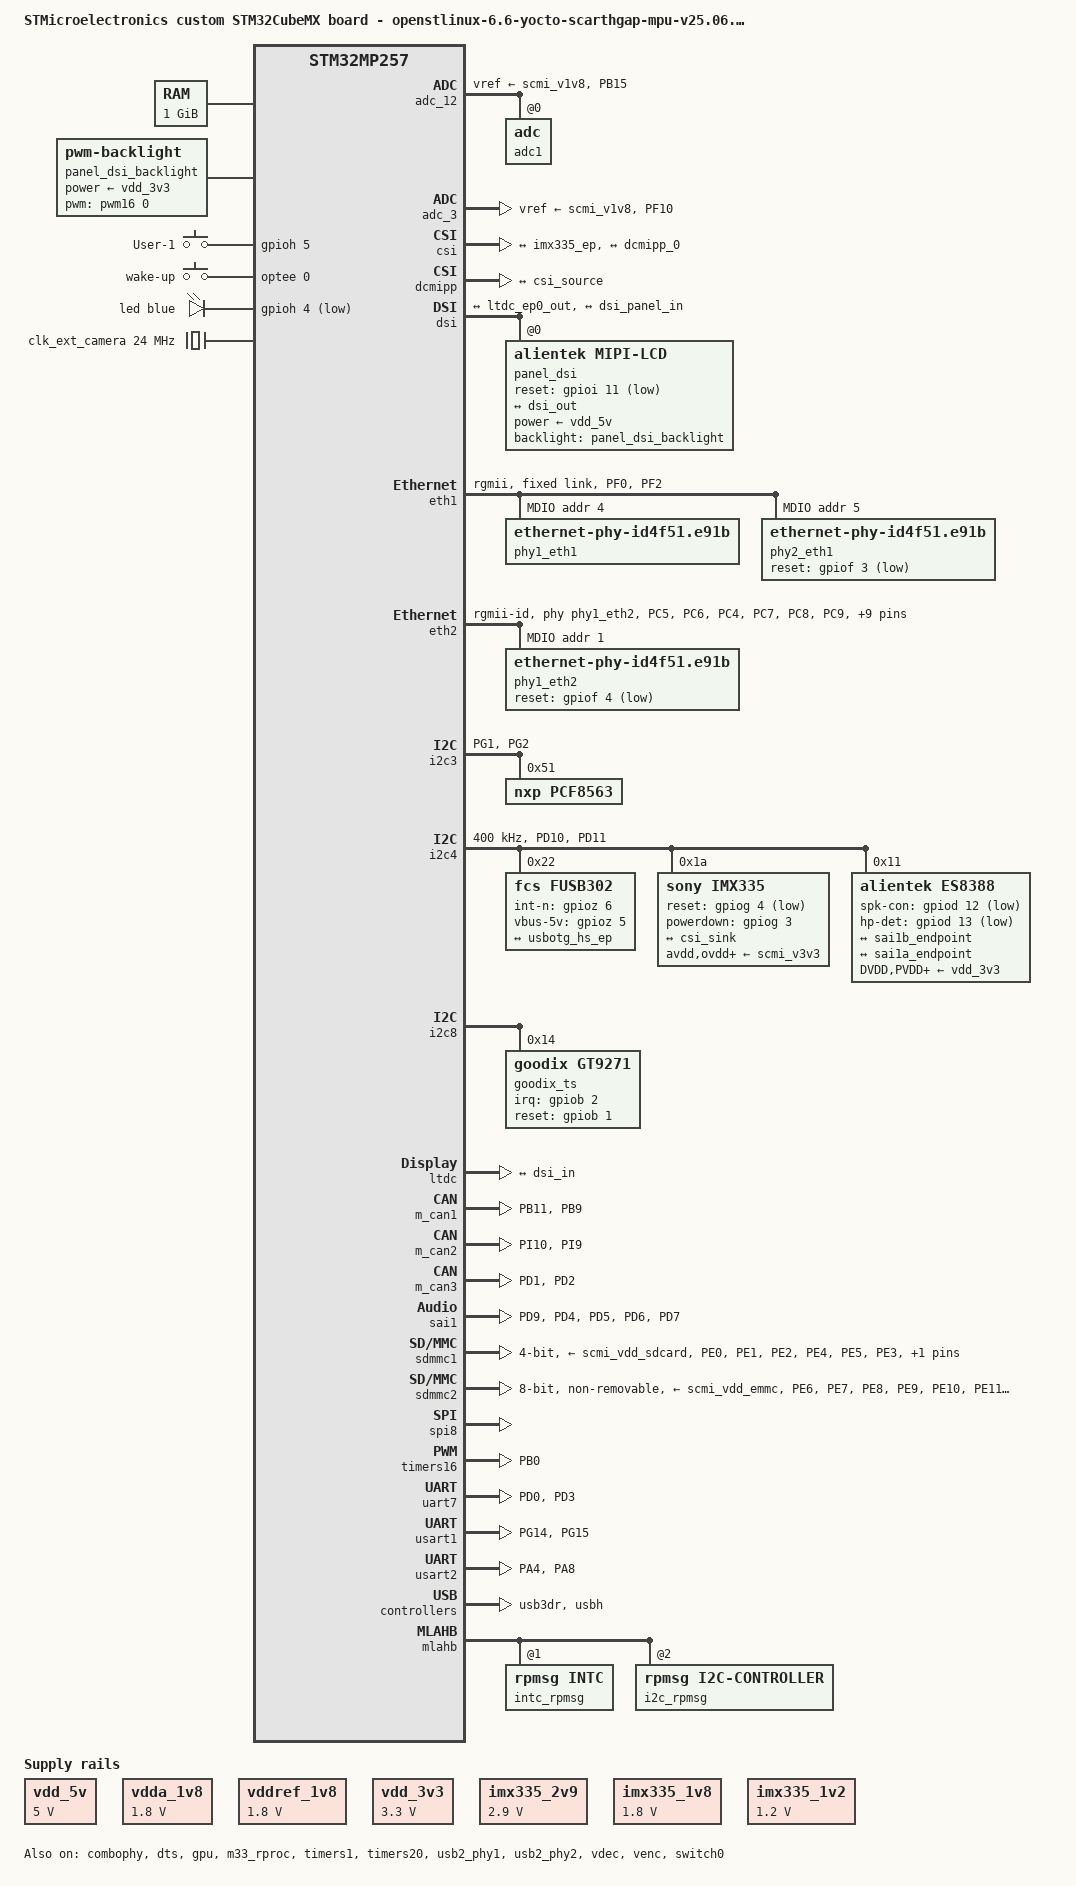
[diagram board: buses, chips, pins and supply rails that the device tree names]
// SPDX-License-Identifier: (GPL-2.0-only OR BSD-3-Clause)
/*
 * Copyright (C) 2026, STMicroelectronics - All Rights Reserved
 * Author: STM32CubeMX code generation for STMicroelectronics.
 */

/* For more information on Device Tree configuration, please refer to
 * https://wiki.st.com/stm32mpu/wiki/Category:Device_tree_configuration
 */

/dts-v1/;

#include <dt-bindings/pinctrl/stm32-pinfunc.h>
#include "stm32mp257.dtsi"
#include "stm32mp257d-stm32mp257dak3-mx-resmem.dtsi"
#include "stm32mp25xxak-pinctrl.dtsi"

/* USER CODE BEGIN includes */
#include <dt-bindings/gpio/gpio.h>
#include <dt-bindings/usb/pd.h>
#include <dt-bindings/input/input.h>
#include <dt-bindings/leds/common.h>
#include "stm32mp25-pinctrl.dtsi"
/* USER CODE END includes */

/ {
	model = "STMicroelectronics custom STM32CubeMX board - openstlinux-6.6-yocto-scarthgap-mpu-v25.06.11";
	compatible = "st,stm32mp257d-stm32mp257dak3-mx", "st,stm32mp257";

	memory@80000000 {
		device_type = "memory";
		reg = <0x0 0x80000000 0x0 0x40000000>;

		/* USER CODE BEGIN memory */
		/* USER CODE END memory */
	};

	/* USER CODE BEGIN root */
	aliases{
		ethernet0 = &eth2;
		ethernet1 = &eth1;
		serial0 = &usart2;
		serial1 = &usart1;
		serial2 = &uart7;
	};
	
	chosen{
		stdout-path = "serial0:115200n8";
		#address-cells = <2>;
		#size-cells = <2>;
		ranges;
	};

	config_adc_mipi_dsi_lcd_id {
		st,adc_mipi_dsi_lcd_id = <&adc3 2>;
	};
	
/*
	dsi_lcd_id select id:
		atk_no_mipi = 1,
		atk_mipi_dsi_5x5_720x1280 = 2,
		atk_mipi_dsi_5x5_1080x1920 = 3,
		atk_mipi_dsi_10x1_800x1280 = 4,
*/
	dsi_lcd_id {
        dsi_select_id = <2>;
    };

	rgb_lcd_id_pinctrl {
		gpior = <&gpiog 7 	GPIO_ACTIVE_LOW>;	//LCD_R7
		gpiog = <&gpiog 13 	GPIO_ACTIVE_LOW>;	//LCD_G7
		gpiob = <&gpioi 4 	GPIO_ACTIVE_LOW>;	//LCD_B7
	};

	panel_dsi_backlight: panel-dsi-backlight {
        compatible = "pwm-backlight";
        pwms = <&pwm16 0 5000000 0>;
		brightness-levels = <
                     0   1   2   3   4   5   6   7	 8   9
					10  11  12  13  14  15  16  17  18  19
					20  21  22  23  24  25  26  27  28  29
					30  31  32  33  34  35  36  37  38  39
                    40  41  42  43  44  45  46  47  48  49
					50  51  52  53  54  55  56  57  58  59
					60  61  62  63  64  65  66  67  68  69
					70  71  72  73  74  75  76  77  78  79
                    80  81  82  83  84  85  86  87  88  89
					90  91  92  93  94  95  96  97  98  99
					100 101 102 103 104 105 106 107 108 109
					110 111 112 113 114 115 116 117 118 119
                    120 121 122 123 124 125 126 127 128 129
					130 131 132 133 134 135 136 137 138 139
					140 141 142 143 144 145 146 147 148 149
					150 151 152 153 154 155 156 157 158 159
                    160 161 162 163 164 165 166 167 168 169
					170 171 172 173 174 175 176 177 178 179
					180 181 182 183 184 185 186 187 188 189
					190 191 192 193 194 195 196 197 198 199
                    200 201 202 203 204 205 206 207 208 209
					210 211 212 213 214 215 216 217 218 219
					220 221 222 223 224 225 226 227 228 229
					230 231 232 233 234 235 236 237 238 239
                    240 241 242 243 244 245 246 247 248 249
					250 251 252 253 254 255>;
	        power-supply = <&vdd_3v3>;
	        default-brightness-level = <255>;
	        status = "okay";
	};

	gpio-keys {
		compatible = "gpio-keys";

		button-user-1 {
			label = "User-1";
			linux,code = <BTN_1>;
			gpios = <&gpioh 5 GPIO_ACTIVE_HIGH>;
			status = "okay";
		};

		button-wake-up {
			label = "wake-up";
			linux,code = <KEY_WAKEUP>;
			interrupts-extended = <&optee 0>;
			wakeup-source;
			status = "okay";
		};
	};

	gpio-leds {
		compatible = "gpio-leds";

		led {
			function = LED_FUNCTION_HEARTBEAT;
			color = <LED_COLOR_ID_BLUE>;
			gpios = <&gpioh 4 GPIO_ACTIVE_LOW>;
			linux,default-trigger = "heartbeat";
			default-state = "off";
		};
	};

	sound {
		compatible = "audio-graph-card";
		label = "es8388-audio";
			dais = <&sai1a_port &sai1b_port>;
			widgets = 
				"Headphone", "Headphone Jack",
				"Speaker", "Ext Spk",
				"Microphone", "Mic Jack";
		routing =
            "Playback", "MCLK",
            "Capture", "MCLK",
		    "Headphone Jack", "LOUT1",
		    "Headphone Jack", "ROUT1",
		    "Ext Spk", "LOUT2",
		    "Ext Spk", "ROUT2",
		    "LINPUT1", "Mic Jack",
		    "LINPUT2", "Mic Jack",
		    "RINPUT2", "Mic Jack",
		    "Mic Jack", "Mic Bias";
	};

	vdd_5v: regulator-vdd-5v {
			compatible = "regulator-fixed";
			regulator-name = "vdd_5v";
			regulator-min-microvolt = <5000000>;
			regulator-max-microvolt = <5000000>;
			regulator-always-on;
			regulator-boot-on;
	};
	
	vdda_1v8: regulator-vdda-1v8 {
			compatible = "regulator-fixed";
			regulator-name = "vdda_1v8";
			regulator-min-microvolt = <1800000>;
			regulator-max-microvolt = <1800000>;
			regulator-always-on;
			regulator-boot-on;
	};

	vddref_1v8: regulator-vddref-1v8 {
			compatible = "regulator-fixed";
			regulator-name = "vddref_1v8";
			regulator-min-microvolt = <1800000>;
			regulator-max-microvolt = <1800000>;
			regulator-always-on;
			regulator-boot-on;
	};
	
	vdd_3v3: regulator-vdd-3v3 {
		compatible = "regulator-fixed";
		regulator-name = "vdd_3v3";
		regulator-min-microvolt = <3300000>;
		regulator-max-microvolt = <3300000>;
		regulator-always-on;
		regulator-boot-on;
	};

	imx335_2v9: imx335-2v9 {
		compatible = "regulator-fixed";
		regulator-name = "imx335-avdd";
		regulator-min-microvolt = <2900000>;
		regulator-max-microvolt = <2900000>;
		regulator-always-on;
	};

	imx335_1v8: imx335-1v8 {
		compatible = "regulator-fixed";
		regulator-name = "imx335-ovdd";
		regulator-min-microvolt = <1800000>;
		regulator-max-microvolt = <1800000>;
		regulator-always-on;
	};

	imx335_1v2: imx335-1v2 {
		compatible = "regulator-fixed";
		regulator-name = "imx335-dvdd";
		regulator-min-microvolt = <1200000>;
		regulator-max-microvolt = <1200000>;
		regulator-always-on;
	};
	/* USER CODE END root */

	clocks{

		/* USER CODE BEGIN clocks */
		clk_ext_camera: clk-ext-camera {
			#clock-cells = <0>;
			compatible = "fixed-clock";
			clock-frequency = <24000000>;
		};

		pad_clk: pad-clk {
			#clock-cells = <0>;
			compatible = "fixed-clock";
			clock-frequency = <100000000>;
		};
		/* USER CODE END clocks */
	};

}; /*root*/

&pinctrl {

	adc3_pins_mx: adc3_mx-0 {
		pins {
			pinmux = <STM32_PINMUX('F', 10, ANALOG)>; /* ADC3_INP2 */
		};
	};

	adc3_sleep_pins_mx: adc3_sleep_mx-0 {
		pins {
			pinmux = <STM32_PINMUX('F', 10, ANALOG)>; /* ADC3_INP2 */
		};
	};

	adc_12_pins_mx: adc_12_mx-0 {
		pins {
			pinmux = <STM32_PINMUX('B', 15, ANALOG)>; /* ADC1_INP15 */
		};
	};

	adc_12_sleep_pins_mx: adc_12_sleep_mx-0 {
		pins {
			pinmux = <STM32_PINMUX('B', 15, ANALOG)>; /* ADC1_INP15 */
		};
	};

	eth1_mdio_pins_mx: eth1_mdio_mx-0 {
		pins1 {
			pinmux = <STM32_PINMUX('F', 0, AF10)>; /* ETH1_MDC */
			bias-disable;
			drive-push-pull;
			slew-rate = <2>;
			st,io-clk-edge = <0>;
			st,io-retime = <0>;
			st,io-delay-path = <0>;
			st,io-delay = <0>;
		};
		pins2 {
			pinmux = <STM32_PINMUX('F', 2, AF10)>; /* ETH1_MDIO */
			bias-disable;
			drive-push-pull;
			slew-rate = <0>;
			st,io-clk-edge = <0>;
			st,io-retime = <0>;
			st,io-delay-path = <0>;
			st,io-delay = <0>;
		};
	};

	eth1_mdio_sleep_pins_mx: eth1_mdio_sleep_mx-0 {
		pins {
			pinmux = <STM32_PINMUX('F', 0, ANALOG)>, /* ETH1_MDC */
					 <STM32_PINMUX('F', 2, ANALOG)>; /* ETH1_MDIO */
		};
	};

	eth1_rgmii_pins_mx: eth1_rgmii_mx-0 {
		pins1 {
			pinmux = <STM32_PINMUX('A', 11, AF10)>, /* ETH1_RGMII_RX_CTL */
					 <STM32_PINMUX('C', 2, AF10)>, /* ETH1_RGMII_RXD1 */
					 <STM32_PINMUX('F', 1, AF10)>, /* ETH1_RGMII_RXD0 */
					 <STM32_PINMUX('H', 12, AF10)>, /* ETH1_RGMII_RXD2 */
					 <STM32_PINMUX('H', 13, AF10)>; /* ETH1_RGMII_RXD3 */
			bias-disable;
			drive-push-pull;
			st,io-clk-edge = <1>;
			st,io-retime = <1>;
			st,io-delay-path = <0>;
			st,io-delay = <0>;
		};
		pins2 {
			pinmux = <STM32_PINMUX('A', 13, AF10)>, /* ETH1_RGMII_TX_CTL */
					 <STM32_PINMUX('A', 15, AF10)>, /* ETH1_RGMII_TXD0 */
					 <STM32_PINMUX('C', 1, AF10)>, /* ETH1_RGMII_TXD1 */
					 <STM32_PINMUX('H', 10, AF10)>, /* ETH1_RGMII_TXD2 */
					 <STM32_PINMUX('H', 11, AF10)>; /* ETH1_RGMII_TXD3 */
			bias-disable;
			drive-push-pull;
			slew-rate = <2>;
			st,io-clk-edge = <1>;
			st,io-retime = <1>;
			st,io-delay-path = <0>;
			st,io-delay = <0>;
		};
		pins3 {
			pinmux = <STM32_PINMUX('A', 14, AF10)>; /* ETH1_RGMII_RX_CLK */
			bias-disable;
			drive-push-pull;
			slew-rate = <0>;
			st,io-clk-edge = <0>;
			st,io-retime = <0>;
			st,io-delay-path = <0>;
			st,io-delay = <0>;
		};
		pins4 {
			pinmux = <STM32_PINMUX('C', 0, AF12)>; /* ETH1_RGMII_GTX_CLK */
			bias-disable;
			drive-push-pull;
			slew-rate = <1>;
			st,io-clk-edge = <0>;
			st,io-retime = <0>;
			st,io-delay-path = <0>;
			st,io-delay = <0>;
		};
		pins5 {
			pinmux = <STM32_PINMUX('H', 9, AF10)>; /* ETH1_RGMII_CLK125 */
		};
	};

	eth1_rgmii_sleep_pins_mx: eth1_rgmii_sleep_mx-0 {
		pins {
			pinmux = <STM32_PINMUX('A', 11, ANALOG)>, /* ETH1_RGMII_RX_CTL */
					 <STM32_PINMUX('A', 13, ANALOG)>, /* ETH1_RGMII_TX_CTL */
					 <STM32_PINMUX('A', 14, ANALOG)>, /* ETH1_RGMII_RX_CLK */
					 <STM32_PINMUX('A', 15, ANALOG)>, /* ETH1_RGMII_TXD0 */
					 <STM32_PINMUX('C', 0, ANALOG)>, /* ETH1_RGMII_GTX_CLK */
					 <STM32_PINMUX('C', 1, ANALOG)>, /* ETH1_RGMII_TXD1 */
					 <STM32_PINMUX('C', 2, ANALOG)>, /* ETH1_RGMII_RXD1 */
					 <STM32_PINMUX('F', 1, ANALOG)>, /* ETH1_RGMII_RXD0 */
					 <STM32_PINMUX('H', 9, ANALOG)>, /* ETH1_RGMII_CLK125 */
					 <STM32_PINMUX('H', 10, ANALOG)>, /* ETH1_RGMII_TXD2 */
					 <STM32_PINMUX('H', 11, ANALOG)>, /* ETH1_RGMII_TXD3 */
					 <STM32_PINMUX('H', 12, ANALOG)>, /* ETH1_RGMII_RXD2 */
					 <STM32_PINMUX('H', 13, ANALOG)>; /* ETH1_RGMII_RXD3 */
		};
	};

	eth2_mdio_pins_mx: eth2_mdio_mx-0 {
		pins1 {
			pinmux = <STM32_PINMUX('C', 5, AF10)>; /* ETH2_MDIO */
			bias-disable;
			drive-push-pull;
			slew-rate = <0>;
			st,io-clk-edge = <0>;
			st,io-retime = <0>;
			st,io-delay-path = <0>;
			st,io-delay = <0>;
		};
		pins2 {
			pinmux = <STM32_PINMUX('C', 6, AF10)>; /* ETH2_MDC */
			bias-disable;
			drive-push-pull;
			slew-rate = <2>;
			st,io-clk-edge = <0>;
			st,io-retime = <0>;
			st,io-delay-path = <0>;
			st,io-delay = <0>;
		};
	};

	eth2_mdio_sleep_pins_mx: eth2_mdio_sleep_mx-0 {
		pins {
			pinmux = <STM32_PINMUX('C', 5, ANALOG)>, /* ETH2_MDIO */
					 <STM32_PINMUX('C', 6, ANALOG)>; /* ETH2_MDC */
		};
	};

	eth2_rgmii_pins_mx: eth2_rgmii_mx-0 {
		pins1 {
			pinmux = <STM32_PINMUX('C', 4, AF10)>, /* ETH2_RGMII_TX_CTL */
					 <STM32_PINMUX('C', 7, AF10)>, /* ETH2_RGMII_TXD0 */
					 <STM32_PINMUX('C', 8, AF10)>, /* ETH2_RGMII_TXD1 */
					 <STM32_PINMUX('C', 9, AF10)>, /* ETH2_RGMII_TXD2 */
					 <STM32_PINMUX('C', 10, AF10)>; /* ETH2_RGMII_TXD3 */
			bias-disable;
			drive-push-pull;
			slew-rate = <2>;
			st,io-clk-edge = <1>;
			st,io-retime = <1>;
			st,io-delay-path = <0>;
			st,io-delay = <0>;
		};
		pins2 {
			pinmux = <STM32_PINMUX('C', 3, AF10)>, /* ETH2_RGMII_RX_CTL */
					 <STM32_PINMUX('C', 11, AF10)>, /* ETH2_RGMII_RXD3 */
					 <STM32_PINMUX('C', 12, AF10)>, /* ETH2_RGMII_RXD1 */
					 <STM32_PINMUX('F', 9, AF10)>, /* ETH2_RGMII_RXD2 */
					 <STM32_PINMUX('G', 0, AF10)>; /* ETH2_RGMII_RXD0 */
			bias-disable;
			drive-push-pull;
			st,io-clk-edge = <1>;
			st,io-retime = <1>;
			st,io-delay-path = <0>;
			st,io-delay = <0>;
		};
		pins3 {
			pinmux = <STM32_PINMUX('F', 6, AF10)>; /* ETH2_RGMII_RX_CLK */
			bias-disable;
			drive-push-pull;
			slew-rate = <0>;
			st,io-clk-edge = <0>;
			st,io-retime = <0>;
			st,io-delay-path = <0>;
			st,io-delay = <0>;
		};
		pins4 {
			pinmux = <STM32_PINMUX('F', 7, AF10)>; /* ETH2_RGMII_GTX_CLK */
			bias-disable;
			drive-push-pull;
			slew-rate = <1>;
			st,io-clk-edge = <0>;
			st,io-retime = <0>;
			st,io-delay-path = <0>;
			st,io-delay = <0>;
		};
		pins5 {
			pinmux = <STM32_PINMUX('F', 8, AF10)>; /* ETH2_RGMII_CLK125 */
			bias-disable;
			drive-push-pull;
			slew-rate = <2>;
		};
	};

	eth2_rgmii_sleep_pins_mx: eth2_rgmii_sleep_mx-0 {
		pins {
			pinmux = <STM32_PINMUX('C', 3, ANALOG)>, /* ETH2_RGMII_RX_CTL */
					 <STM32_PINMUX('C', 4, ANALOG)>, /* ETH2_RGMII_TX_CTL */
					 <STM32_PINMUX('C', 7, ANALOG)>, /* ETH2_RGMII_TXD0 */
					 <STM32_PINMUX('C', 8, ANALOG)>, /* ETH2_RGMII_TXD1 */
					 <STM32_PINMUX('C', 9, ANALOG)>, /* ETH2_RGMII_TXD2 */
					 <STM32_PINMUX('C', 10, ANALOG)>, /* ETH2_RGMII_TXD3 */
					 <STM32_PINMUX('C', 11, ANALOG)>, /* ETH2_RGMII_RXD3 */
					 <STM32_PINMUX('C', 12, ANALOG)>, /* ETH2_RGMII_RXD1 */
					 <STM32_PINMUX('F', 6, ANALOG)>, /* ETH2_RGMII_RX_CLK */
					 <STM32_PINMUX('F', 7, ANALOG)>, /* ETH2_RGMII_GTX_CLK */
					 <STM32_PINMUX('F', 8, ANALOG)>, /* ETH2_RGMII_CLK125 */
					 <STM32_PINMUX('F', 9, ANALOG)>, /* ETH2_RGMII_RXD2 */
					 <STM32_PINMUX('G', 0, ANALOG)>; /* ETH2_RGMII_RXD0 */
		};
	};

	fdcan1_pins_mx: fdcan1_mx-0 {
		pins1 {
			pinmux = <STM32_PINMUX('B', 11, AF7)>; /* FDCAN1_RX */
			bias-disable;
			drive-push-pull;
		};
		pins2 {
			pinmux = <STM32_PINMUX('B', 9, AF7)>; /* FDCAN1_TX */
			bias-disable;
			drive-push-pull;
			slew-rate = <0>;
		};
	};

	fdcan1_sleep_pins_mx: fdcan1_sleep_mx-0 {
		pins {
			pinmux = <STM32_PINMUX('B', 9, ANALOG)>, /* FDCAN1_TX */
					 <STM32_PINMUX('B', 11, ANALOG)>; /* FDCAN1_RX */
		};
	};

	fdcan2_pins_mx: fdcan2_mx-0 {
		pins1 {
			pinmux = <STM32_PINMUX('I', 10, AF4)>; /* FDCAN2_RX */
			bias-disable;
			drive-push-pull;
		};
		pins2 {
			pinmux = <STM32_PINMUX('I', 9, AF4)>; /* FDCAN2_TX */
			bias-disable;
			drive-push-pull;
			slew-rate = <0>;
		};
	};

	fdcan2_sleep_pins_mx: fdcan2_sleep_mx-0 {
		pins {
			pinmux = <STM32_PINMUX('I', 9, ANALOG)>, /* FDCAN2_TX */
					 <STM32_PINMUX('I', 10, ANALOG)>; /* FDCAN2_RX */
		};
	};

	fdcan3_pins_mx: fdcan3_mx-0 {
		pins1 {
			pinmux = <STM32_PINMUX('D', 1, AF9)>; /* FDCAN3_RX */
			bias-disable;
			drive-push-pull;
		};
		pins2 {
			pinmux = <STM32_PINMUX('D', 2, AF9)>; /* FDCAN3_TX */
			bias-disable;
			drive-push-pull;
			slew-rate = <0>;
		};
	};

	fdcan3_sleep_pins_mx: fdcan3_sleep_mx-0 {
		pins {
			pinmux = <STM32_PINMUX('D', 1, ANALOG)>, /* FDCAN3_RX */
					 <STM32_PINMUX('D', 2, ANALOG)>; /* FDCAN3_TX */
		};
	};

	i2c3_pins_mx: i2c3_mx-0 {
		pins {
			pinmux = <STM32_PINMUX('G', 1, AF9)>, /* I2C3_SCL */
					 <STM32_PINMUX('G', 2, AF9)>; /* I2C3_SDA */
			bias-disable;
			drive-open-drain;
			slew-rate = <0>;
		};
	};

	i2c3_sleep_pins_mx: i2c3_sleep_mx-0 {
		pins {
			pinmux = <STM32_PINMUX('G', 1, ANALOG)>, /* I2C3_SCL */
					 <STM32_PINMUX('G', 2, ANALOG)>; /* I2C3_SDA */
		};
	};

	i2c4_pins_mx: i2c4_mx-0 {
		pins {
			pinmux = <STM32_PINMUX('D', 10, AF6)>, /* I2C4_SDA */
					 <STM32_PINMUX('D', 11, AF6)>; /* I2C4_SCL */
			bias-disable;
			drive-open-drain;
			slew-rate = <0>;
		};
	};

	i2c4_sleep_pins_mx: i2c4_sleep_mx-0 {
		pins {
			pinmux = <STM32_PINMUX('D', 10, ANALOG)>, /* I2C4_SDA */
					 <STM32_PINMUX('D', 11, ANALOG)>; /* I2C4_SCL */
		};
	};

	pcie_pins_mx: pcie_mx-0 {
		pins {
			pinmux = <STM32_PINMUX('B', 8, AF4)>; /* PCIE_CLKREQN */
			bias-disable;
			drive-push-pull;
			slew-rate = <0>;
		};
	};

	pcie_init_pins_mx: pcie_init_mx-0 {
		pins {
			pinmux = <STM32_PINMUX('B', 8, ANALOG)>; /* PCIE_CLKREQN */
		};
	};

	pcie_sleep_pins_mx: pcie_sleep_mx-0 {
		pins {
			pinmux = <STM32_PINMUX('B', 8, ANALOG)>; /* PCIE_CLKREQN */
		};
	};

	sai1a_pins_mx: sai1a_mx-0 {
		pins {
			pinmux = <STM32_PINMUX('D', 9, AF3)>; /* SAI1_SD_A */
			bias-disable;
			drive-push-pull;
			slew-rate = <0>;
		};
	};

	sai1a_sleep_pins_mx: sai1a_sleep_mx-0 {
		pins {
			pinmux = <STM32_PINMUX('D', 9, ANALOG)>; /* SAI1_SD_A */
		};
	};

	sai1b_pins_mx: sai1b_mx-0 {
		pins {
			pinmux = <STM32_PINMUX('D', 4, AF4)>, /* SAI1_SD_B */
					 <STM32_PINMUX('D', 5, AF4)>, /* SAI1_FS_B */
					 <STM32_PINMUX('D', 6, AF4)>, /* SAI1_SCK_B */
					 <STM32_PINMUX('D', 7, AF4)>; /* SAI1_MCLK_B */
			bias-disable;
			drive-push-pull;
			slew-rate = <0>;
		};
	};

	sai1b_sleep_pins_mx: sai1b_sleep_mx-0 {
		pins {
			pinmux = <STM32_PINMUX('D', 4, ANALOG)>, /* SAI1_SD_B */
					 <STM32_PINMUX('D', 5, ANALOG)>, /* SAI1_FS_B */
					 <STM32_PINMUX('D', 6, ANALOG)>, /* SAI1_SCK_B */
					 <STM32_PINMUX('D', 7, ANALOG)>; /* SAI1_MCLK_B */
		};
	};

	sdmmc1_pins_mx: sdmmc1_mx-0 {
		pins1 {
			pinmux = <STM32_PINMUX('E', 0, AF10)>, /* SDMMC1_D2 */
					 <STM32_PINMUX('E', 1, AF10)>, /* SDMMC1_D3 */
					 <STM32_PINMUX('E', 2, AF10)>, /* SDMMC1_CMD */
					 <STM32_PINMUX('E', 4, AF10)>, /* SDMMC1_D0 */
					 <STM32_PINMUX('E', 5, AF10)>; /* SDMMC1_D1 */
			bias-disable;
			drive-push-pull;
			slew-rate = <1>;
		};
		pins2 {
			pinmux = <STM32_PINMUX('E', 3, AF10)>; /* SDMMC1_CK */
			bias-disable;
			drive-push-pull;
			slew-rate = <3>;
		};
	};

	sdmmc1_opendrain_pins_mx: sdmmc1_opendrain_mx-0 {
		pins1 {
			pinmux = <STM32_PINMUX('E', 0, AF10)>, /* SDMMC1_D2 */
					 <STM32_PINMUX('E', 1, AF10)>, /* SDMMC1_D3 */
					 <STM32_PINMUX('E', 4, AF10)>, /* SDMMC1_D0 */
					 <STM32_PINMUX('E', 5, AF10)>; /* SDMMC1_D1 */
			bias-disable;
			drive-push-pull;
			slew-rate = <1>;
		};
		pins2 {
			pinmux = <STM32_PINMUX('E', 2, AF10)>; /* SDMMC1_CMD */
			bias-disable;
			drive-open-drain;
			slew-rate = <1>;
		};
		pins3 {
			pinmux = <STM32_PINMUX('E', 3, AF10)>; /* SDMMC1_CK */
			bias-disable;
			drive-push-pull;
			slew-rate = <3>;
		};
	};

	sdmmc1_sleep_pins_mx: sdmmc1_sleep_mx-0 {
		pins {
			pinmux = <STM32_PINMUX('E', 0, ANALOG)>, /* SDMMC1_D2 */
					 <STM32_PINMUX('E', 1, ANALOG)>, /* SDMMC1_D3 */
					 <STM32_PINMUX('E', 2, ANALOG)>, /* SDMMC1_CMD */
					 <STM32_PINMUX('E', 3, ANALOG)>, /* SDMMC1_CK */
					 <STM32_PINMUX('E', 4, ANALOG)>, /* SDMMC1_D0 */
					 <STM32_PINMUX('E', 5, ANALOG)>; /* SDMMC1_D1 */
		};
	};

	sdmmc2_pins_mx: sdmmc2_mx-0 {
		pins1 {
			pinmux = <STM32_PINMUX('E', 6, AF12)>, /* SDMMC2_D6 */
					 <STM32_PINMUX('E', 7, AF12)>, /* SDMMC2_D7 */
					 <STM32_PINMUX('E', 8, AF12)>, /* SDMMC2_D2 */
					 <STM32_PINMUX('E', 9, AF12)>, /* SDMMC2_D5 */
					 <STM32_PINMUX('E', 10, AF12)>, /* SDMMC2_D4 */
					 <STM32_PINMUX('E', 11, AF12)>, /* SDMMC2_D1 */
					 <STM32_PINMUX('E', 12, AF12)>, /* SDMMC2_D3 */
					 <STM32_PINMUX('E', 13, AF12)>, /* SDMMC2_D0 */
					 <STM32_PINMUX('E', 15, AF12)>; /* SDMMC2_CMD */
			bias-disable;
			drive-push-pull;
			slew-rate = <1>;
		};
		pins2 {
			pinmux = <STM32_PINMUX('E', 14, AF12)>; /* SDMMC2_CK */
			bias-disable;
			drive-push-pull;
			slew-rate = <3>;
		};
	};

	sdmmc2_opendrain_pins_mx: sdmmc2_opendrain_mx-0 {
		pins1 {
			pinmux = <STM32_PINMUX('E', 6, AF12)>, /* SDMMC2_D6 */
					 <STM32_PINMUX('E', 7, AF12)>, /* SDMMC2_D7 */
					 <STM32_PINMUX('E', 8, AF12)>, /* SDMMC2_D2 */
					 <STM32_PINMUX('E', 9, AF12)>, /* SDMMC2_D5 */
					 <STM32_PINMUX('E', 10, AF12)>, /* SDMMC2_D4 */
					 <STM32_PINMUX('E', 11, AF12)>, /* SDMMC2_D1 */
					 <STM32_PINMUX('E', 12, AF12)>, /* SDMMC2_D3 */
					 <STM32_PINMUX('E', 13, AF12)>; /* SDMMC2_D0 */
			bias-disable;
			drive-push-pull;
			slew-rate = <1>;
		};
		pins2 {
			pinmux = <STM32_PINMUX('E', 14, AF12)>; /* SDMMC2_CK */
			bias-disable;
			drive-push-pull;
			slew-rate = <3>;
		};
		pins3 {
			pinmux = <STM32_PINMUX('E', 15, AF12)>; /* SDMMC2_CMD */
			bias-disable;
			drive-open-drain;
			slew-rate = <1>;
		};
	};

	sdmmc2_sleep_pins_mx: sdmmc2_sleep_mx-0 {
		pins {
			pinmux = <STM32_PINMUX('E', 6, ANALOG)>, /* SDMMC2_D6 */
					 <STM32_PINMUX('E', 7, ANALOG)>, /* SDMMC2_D7 */
					 <STM32_PINMUX('E', 8, ANALOG)>, /* SDMMC2_D2 */
					 <STM32_PINMUX('E', 9, ANALOG)>, /* SDMMC2_D5 */
					 <STM32_PINMUX('E', 10, ANALOG)>, /* SDMMC2_D4 */
					 <STM32_PINMUX('E', 11, ANALOG)>, /* SDMMC2_D1 */
					 <STM32_PINMUX('E', 12, ANALOG)>, /* SDMMC2_D3 */
					 <STM32_PINMUX('E', 13, ANALOG)>, /* SDMMC2_D0 */
					 <STM32_PINMUX('E', 14, ANALOG)>, /* SDMMC2_CK */
					 <STM32_PINMUX('E', 15, ANALOG)>; /* SDMMC2_CMD */
		};
	};

	tim1_pins_mx: tim1_mx-0 {
		pins {
			pinmux = <STM32_PINMUX('D', 8, AF8)>; /* TIM1_CH4 */
			bias-disable;
			drive-push-pull;
			slew-rate = <0>;
		};
	};

	tim1_sleep_pins_mx: tim1_sleep_mx-0 {
		pins {
			pinmux = <STM32_PINMUX('D', 8, ANALOG)>; /* TIM1_CH4 */
		};
	};

	tim16_pwm_pins_mx: tim16_pwm_mx-0 {
		pins {
			pinmux = <STM32_PINMUX('B', 0, AF7)>; /* TIM16_CH1 */
			bias-disable;
			drive-push-pull;
			slew-rate = <0>;
		};
	};

	tim16_pwm_sleep_pins_mx: tim16_pwm_sleep_mx-0 {
		pins {
			pinmux = <STM32_PINMUX('B', 0, ANALOG)>; /* TIM16_CH1 */
		};
	};

	tim20_pwm_pins_mx: tim20_pwm_mx-0 {
		pins {
			pinmux = <STM32_PINMUX('B', 3, AF8)>; /* TIM20_CH3 */
			bias-disable;
			drive-push-pull;
			slew-rate = <0>;
		};
	};

	tim20_pwm_sleep_pins_mx: tim20_pwm_sleep_mx-0 {
		pins {
			pinmux = <STM32_PINMUX('B', 3, ANALOG)>; /* TIM20_CH3 */
		};
	};

	uart7_pins_mx: uart7_mx-0 {
		pins1 {
			pinmux = <STM32_PINMUX('D', 0, AF6)>; /* UART7_RX */
			bias-disable;
			drive-push-pull;
		};
		pins2 {
			pinmux = <STM32_PINMUX('D', 3, AF6)>; /* UART7_TX */
			bias-disable;
			drive-push-pull;
			slew-rate = <0>;
		};
	};

	uart7_idle_pins_mx: uart7_idle_mx-0 {
		pins1 {
			pinmux = <STM32_PINMUX('D', 0, AF6)>; /* UART7_RX */
			bias-disable;
			drive-push-pull;
		};
		pins2 {
			pinmux = <STM32_PINMUX('D', 3, ANALOG)>; /* UART7_TX */
		};
	};

	uart7_sleep_pins_mx: uart7_sleep_mx-0 {
		pins {
			pinmux = <STM32_PINMUX('D', 0, ANALOG)>, /* UART7_RX */
					 <STM32_PINMUX('D', 3, ANALOG)>; /* UART7_TX */
		};
	};

	usart1_pins_mx: usart1_mx-0 {
		pins1 {
			pinmux = <STM32_PINMUX('G', 14, AF6)>; /* USART1_TX */
			bias-disable;
			drive-push-pull;
			slew-rate = <0>;
		};
		pins2 {
			pinmux = <STM32_PINMUX('G', 15, AF6)>; /* USART1_RX */
			bias-disable;
			drive-push-pull;
		};
	};

	usart1_idle_pins_mx: usart1_idle_mx-0 {
		pins1 {
			pinmux = <STM32_PINMUX('G', 14, ANALOG)>; /* USART1_TX */
		};
		pins2 {
			pinmux = <STM32_PINMUX('G', 15, AF6)>; /* USART1_RX */
			bias-disable;
			drive-push-pull;
		};
	};

	usart1_sleep_pins_mx: usart1_sleep_mx-0 {
		pins {
			pinmux = <STM32_PINMUX('G', 14, ANALOG)>, /* USART1_TX */
					 <STM32_PINMUX('G', 15, ANALOG)>; /* USART1_RX */
		};
	};

	usart2_pins_mx: usart2_mx-0 {
		pins1 {
			pinmux = <STM32_PINMUX('A', 4, AF6)>; /* USART2_TX */
			bias-disable;
			drive-push-pull;
			slew-rate = <0>;
		};
		pins2 {
			pinmux = <STM32_PINMUX('A', 8, AF8)>; /* USART2_RX */
			bias-disable;
			drive-push-pull;
		};
	};

	usart2_idle_pins_mx: usart2_idle_mx-0 {
		pins1 {
			pinmux = <STM32_PINMUX('A', 4, ANALOG)>; /* USART2_TX */
		};
		pins2 {
			pinmux = <STM32_PINMUX('A', 8, AF8)>; /* USART2_RX */
			bias-disable;
			drive-push-pull;
		};
	};

	usart2_sleep_pins_mx: usart2_sleep_mx-0 {
		pins {
			pinmux = <STM32_PINMUX('A', 4, ANALOG)>, /* USART2_TX */
					 <STM32_PINMUX('A', 8, ANALOG)>; /* USART2_RX */
		};
	};

	/* USER CODE BEGIN pinctrl */
	/* USER CODE END pinctrl */
};

&pinctrl_z {

	i2c8_pins_z_mx: i2c8_mx-0 {
		pins {
			pinmux = <STM32_PINMUX('Z', 4, AF8)>, /* I2C8_SCL */
					 <STM32_PINMUX('Z', 9, AF8)>; /* I2C8_SDA */
			bias-disable;
			drive-open-drain;
			slew-rate = <0>;
		};
	};

	i2c8_sleep_pins_z_mx: i2c8_sleep_mx-0 {
		pins {
			pinmux = <STM32_PINMUX('Z', 4, ANALOG)>, /* I2C8_SCL */
					 <STM32_PINMUX('Z', 9, ANALOG)>; /* I2C8_SDA */
		};
	};

	spi8_pins_z_mx: spi8_mx-0 {
		pins {
			pinmux = <STM32_PINMUX('Z', 0, AF3)>, /* SPI8_MOSI */
					 <STM32_PINMUX('Z', 1, AF3)>, /* SPI8_MISO */
					 <STM32_PINMUX('Z', 2, AF3)>, /* SPI8_SCK */
					 <STM32_PINMUX('Z', 3, AF3)>; /* SPI8_NSS */
			bias-disable;
			drive-push-pull;
			slew-rate = <0>;
		};
	};

	spi8_sleep_pins_z_mx: spi8_sleep_mx-0 {
		pins {
			pinmux = <STM32_PINMUX('Z', 0, ANALOG)>, /* SPI8_MOSI */
					 <STM32_PINMUX('Z', 1, ANALOG)>, /* SPI8_MISO */
					 <STM32_PINMUX('Z', 2, ANALOG)>, /* SPI8_SCK */
					 <STM32_PINMUX('Z', 3, ANALOG)>; /* SPI8_NSS */
		};
	};

	/* USER CODE BEGIN pinctrl_z */
	/* USER CODE END pinctrl_z */
};

&adc_12 {
	pinctrl-names = "default", "sleep";
	pinctrl-0 = <&adc_12_pins_mx>;
	pinctrl-1 = <&adc_12_sleep_pins_mx>;
	status = "okay";

	/* USER CODE BEGIN adc_12 */
	vdda-supply = <&scmi_v1v8>;
	vref-supply = <&scmi_v1v8>;

	adc1: adc@0 {
		#address-cells = <1>;
		#size-cells = <0>;
		status = "okay";

		channel@15 {
			reg = <15>;               			/* ADC1 in15 channel is used */
			st,min-sample-time-ns = <10000>;  	/* 10μs sampling time */
		};
	};
	/* USER CODE END adc_12 */
};

&adc_3 {
	pinctrl-names = "default", "sleep";
	pinctrl-0 = <&adc3_pins_mx>;
	pinctrl-1 = <&adc3_sleep_pins_mx>;
	status = "okay";

	/* USER CODE BEGIN adc_3 */
	vdda-supply = <&scmi_v1v8>;
	vref-supply = <&scmi_v1v8>;
	/* USER CODE END adc_3 */
};

&combophy {
	status = "okay";

	/* USER CODE BEGIN combophy */
	clocks = <&rcc CK_BUS_USB3PCIEPHY>, <&rcc CK_KER_USB3PCIEPHY>, <&pad_clk>;
	clock-names = "apb-clk", "ker-clk", "pad-clk";
	st,rx_equalizer = <1>;
	/* USER CODE END combophy */
};

&csi {
	status = "okay";

	/* USER CODE BEGIN csi */
	vdd-supply =  <&scmi_vddcore>;
	vdda18-supply = <&scmi_v1v8>;

	ports {
		#address-cells = <1>;
		#size-cells = <0>;
		port@0 {
			reg = <0>;
			csi_sink: endpoint {
				remote-endpoint = <&imx335_ep>;
				data-lanes = <1 2>;
				bus-type = <4>;
			};
		};
		port@1 {
			reg = <1>;
			csi_source: endpoint {
				remote-endpoint = <&dcmipp_0>;
			};
		};
	};
	/* USER CODE END csi */
};

&dcmipp {
	status = "okay";

	/* USER CODE BEGIN dcmipp */
	port {
		dcmipp_0: endpoint {
			remote-endpoint = <&csi_source>;
			bus-type = <4>;
		};
	};
	/* USER CODE END dcmipp */
};

&dsi {
	status = "okay";

	/* USER CODE BEGIN dsi */
	vdd-supply = <&scmi_vddcore>;
	vdda18-supply = <&scmi_v1v8>;
	#address-cells = <1>;
	#size-cells = <0>;

	ports {
		#address-cells = <1>;
		#size-cells = <0>;

		port@0 {
			reg = <0>;
			dsi_in: endpoint {
			};
		};

		port@1 {
			reg = <1>;
			dsi_out: endpoint {
			};
		};
	};

	panel_dsi: panel@0 {
		compatible = "alientek,mipi-lcd";
		reg = <0>;
		dsi-lanes = <4>;
		reset-gpio = <&gpioi 11 GPIO_ACTIVE_LOW>;
		power-supply = <&vdd_5v>;
		backlight = <&panel_dsi_backlight>;
		status = "okay";

		port {
			dsi_panel_in: endpoint {
				remote-endpoint = <&dsi_out>;
			};
		};
	};
	/* USER CODE END dsi */
};

&dts {
	status = "okay";

	/* USER CODE BEGIN dts */
	/* USER CODE END dts */
};

&eth1 {
	pinctrl-names = "default", "sleep";
	pinctrl-0 = <&eth1_mdio_pins_mx>;
	pinctrl-1 = <&eth1_mdio_sleep_pins_mx>;
	status = "okay";

	/* USER CODE BEGIN eth1 */
	phy-mode = "rgmii";
	st,eth-clk-sel;
	snps,ext-systime;
	fixed_link: fixed-link {  
		speed = <1000>;
		full-duplex;
	};

	mdio1 {
		#address-cells = <1>;
	   	#size-cells = <0>;
		compatible = "snps,dwmac-mdio";
		phy1_eth1: ethernet-phy@4 {
				compatible = "ethernet-phy-id4f51.e91b",
						"ethernet-phy-ieee802.3-c22";			
				reg = <4>;  
		};
		phy2_eth1: ethernet-phy@5 {
				compatible = "ethernet-phy-id4f51.e91b",
						"ethernet-phy-ieee802.3-c22";
				reset-gpios =  <&gpiof 3 GPIO_ACTIVE_LOW>;
				reset-assert-us = <10000>;
				reset-deassert-us = <80000>;
				reg = <5>;
		};
	};

	/* USER CODE END eth1 */
};

&eth2 {
	pinctrl-names = "default", "sleep";
	pinctrl-0 = <&eth2_mdio_pins_mx>, <&eth2_rgmii_pins_mx>;
	pinctrl-1 = <&eth2_mdio_sleep_pins_mx>, <&eth2_rgmii_sleep_pins_mx>;
	status = "okay";

	/* USER CODE BEGIN eth2 */
	phy-mode = "rgmii-id";
	max-speed = <1000>;
	phy-handle = <&phy1_eth2>;
	st,eth-ptp-from-rcc;

	mdio1 {
		#address-cells = <1>;
		#size-cells = <0>;
		compatible = "snps,dwmac-mdio";
		phy1_eth2: ethernet-phy@1 {
			compatible = "ethernet-phy-id4f51.e91b";
			reset-gpios =  <&gpiof 4 GPIO_ACTIVE_LOW>;
			reset-assert-us = <10000>;
			reset-deassert-us = <80000>;
			//realtek,eee-disable;
			reg = <1>;
		};
	};
	/* USER CODE END eth2 */
};

&gpu {
	status = "okay";

	/* USER CODE BEGIN gpu */
	contiguous-area = <&gpu_reserved>;
	/* USER CODE END gpu */
};

&hpdma {
	status = "okay";

	/* USER CODE BEGIN hpdma */
	memory-region = <&hpdma1_lli>;
	/* USER CODE END hpdma */
};

&hpdma2 {
	status = "okay";

	/* USER CODE BEGIN hpdma2 */
	memory-region = <&hpdma2_lli>;
	/* USER CODE END hpdma2 */
};

&hpdma3 {
	status = "okay";

	/* USER CODE BEGIN hpdma3 */
	memory-region = <&hpdma3_lli>;
	/* USER CODE END hpdma3 */
};

&i2c3 {
	pinctrl-names = "default", "sleep";
	pinctrl-0 = <&i2c3_pins_mx>;
	pinctrl-1 = <&i2c3_sleep_pins_mx>;
	status = "okay";

	/* USER CODE BEGIN i2c3 */
	/delete-property/dmas;
	/delete-property/dma-names;

	pcf8563@51 {
		compatible = "nxp,pcf8563";
		reg = <0x51>;
		status = "okay";
	};
	/* USER CODE END i2c3 */
};

&i2c4 {
	pinctrl-names = "default", "sleep";
	pinctrl-0 = <&i2c4_pins_mx>;
	pinctrl-1 = <&i2c4_sleep_pins_mx>;
	status = "okay";

	/* USER CODE BEGIN i2c4 */
	i2c-scl-rising-time-ns = <100>;
	i2c-scl-falling-time-ns = <13>;
	clock-frequency = <400000>;
	/* spare dmas for other usage */
	/delete-property/dmas;
	/delete-property/dma-names;

	fusb302@22 {
		compatible = "fcs,fusb302","fairchild,fusb302";
		reg = <0x22>;
		int-n-gpios = <&gpioz 6 GPIO_ACTIVE_HIGH>;
		vbus-5v-gpios = <&gpioz 5 GPIO_ACTIVE_HIGH>;
		status = "okay";

		connector {
			compatible = "usb-c-connector";
			label = "USB-C";
			power-role = "dual";
			power-opmode = "default";
			try-power-role = "sink";
			source-pdos = <PDO_FIXED(5000, 3000, PDO_FIXED_USB_COMM)>;
			sink-pdos = <PDO_FIXED(5000, 3000, PDO_FIXED_USB_COMM)
			PDO_VAR(3000, 12000, 3000)
			PDO_PPS_APDO(3000, 11000, 3000)>;
			op-sink-microwatt = <10000000>;
			
			port {
				con_usbotg_hs_ep: endpoint {
				remote-endpoint = <&usbotg_hs_ep>;
				};
			};
		};
	};

	imx335: imx335@1a {
		compatible = "sony,imx335";
		reg = <0x1a>;
		clocks = <&clk_ext_camera>;
		avdd-supply = <&scmi_v3v3>;
		ovdd-supply = <&scmi_v3v3>;
		dvdd-supply = <&scmi_v3v3>;        
		reset-gpios = <&gpiog 4 (GPIO_ACTIVE_LOW | GPIO_PUSH_PULL)>;
		powerdown-gpios = <&gpiog 3 (GPIO_ACTIVE_HIGH | GPIO_PUSH_PULL)>;
		status = "okay";

		port {
			imx335_ep: endpoint {
				remote-endpoint = <&csi_sink>;
				clock-lanes = <0>;
				data-lanes = <1 2>;
				link-frequencies = /bits/ 64 <594000000>;
			};
		};
	};

	es8388: es8388@11 {
		compatible = "alientek,es8388";
		reg = <0x11>;
		#sound-dai-cells = <0>;
		spk-con-gpios = <&gpiod 12 GPIO_ACTIVE_LOW>;
		hp-det-gpios = <&gpiod 13 GPIO_ACTIVE_LOW>;
		clocks = <&sai1b>;
		clock-names = "MCLK";
		DVDD-supply = <&vdd_3v3>;
		PVDD-supply = <&vdd_3v3>;
		AVDD-supply = <&vdd_3v3>;
		HPVDD-supply = <&vdd_3v3>;
		status = "okay";

		port {
			#address-cells = <1>;
			#size-cells = <0>;

			es8388_tx_endpoint: endpoint@0 {
				reg = <0>;
				remote-endpoint = <&sai1b_endpoint>;
				frame-master;
				bitclock-master;
			};

			es8388_rx_endpoint: endpoint@1 {
				reg = <1>;
				remote-endpoint = <&sai1a_endpoint>;
				frame-master;
				bitclock-master;
			};
		};
	};
	/* USER CODE END i2c4 */
};

&i2c8 {
	pinctrl-names = "default", "sleep";
	pinctrl-0 = <&i2c8_pins_z_mx>;
	pinctrl-1 = <&i2c8_sleep_pins_z_mx>;
	status = "okay";

	/* USER CODE BEGIN i2c8 */
	/delete-property/dmas;
	/delete-property/dma-names;	

	goodix_ts@14 {
		compatible = "goodix,gt9271", "goodix,gt911";
		reg = <0x14>;
		interrupt-parent = <&gpiob>;
		interrupts = <2 IRQ_TYPE_EDGE_RISING>;
		irq-gpios = <&gpiob 2 GPIO_ACTIVE_HIGH>;
		reset-gpios = <&gpiob 1 GPIO_ACTIVE_HIGH>;
		status = "okay";
	};
	/* USER CODE END i2c8 */
};

&ipcc1 {
	status = "okay";

	/* USER CODE BEGIN ipcc1 */
	/* USER CODE END ipcc1 */
};

&ltdc {
	status = "okay";

	/* USER CODE BEGIN ltdc */
	rotation-memory = <&ltdc_sec_rotation>;

	port {
		#address-cells = <1>;
		#size-cells = <0>;

		ltdc_ep0_out: endpoint@0 {
			reg = <0>;
			remote-endpoint = <&dsi_in>;
		};
	};
	/* USER CODE END ltdc */
};

&m_can1 {
	pinctrl-names = "default", "sleep";
	pinctrl-0 = <&fdcan1_pins_mx>;
	pinctrl-1 = <&fdcan1_sleep_pins_mx>;
	status = "okay";

	/* USER CODE BEGIN m_can1 */
	/* USER CODE END m_can1 */
};

&m_can2 {
	pinctrl-names = "default", "sleep";
	pinctrl-0 = <&fdcan2_pins_mx>;
	pinctrl-1 = <&fdcan2_sleep_pins_mx>;
	status = "okay";

	/* USER CODE BEGIN m_can2 */
	/* USER CODE END m_can2 */
};

&m_can3 {
	pinctrl-names = "default", "sleep";
	pinctrl-0 = <&fdcan3_pins_mx>;
	pinctrl-1 = <&fdcan3_sleep_pins_mx>;
	status = "okay";

	/* USER CODE BEGIN m_can3 */
	/* USER CODE END m_can3 */
};

&m33_rproc {
	status = "okay";

	/*Restriction: "memory-region" property is not managed - please to use User-Section if needed*/

	/* USER CODE BEGIN m33_rproc */
	mboxes = <&ipcc1 0x100>, <&ipcc1 0x101>, <&ipcc1 2>;
	mbox-names = "vq0", "vq1", "shutdown";
	memory-region = <&cm33_cube_fw>, <&cm33_cube_data>,
			<&ipc_shmem>, <&vdev0vring0>,
			<&vdev0vring1>, <&vdev0buffer>,
			<&cm33_sram2>;
	st,syscfg-nsvtor = <&a35ss_syscfg 0xa8 0xffffff80>;
	/* USER CODE END m33_rproc */
};

&pcie_rc {
	pinctrl-names = "default", "init", "sleep";
	pinctrl-0 = <&pcie_pins_mx>;
	pinctrl-1 = <&pcie_init_pins_mx>;
	pinctrl-2 = <&pcie_sleep_pins_mx>;
	status = "disabled";

	/* USER CODE BEGIN pcie_rc */
	reset-gpios = <&gpiob 12 GPIO_ACTIVE_LOW>;
	/* USER CODE END pcie_rc */
};

&sai1 {
	pinctrl-names = "default", "sleep";
	pinctrl-0 = <&sai1a_pins_mx>, <&sai1b_pins_mx>;
	pinctrl-1 = <&sai1a_sleep_pins_mx>, <&sai1b_sleep_pins_mx>;
	status = "okay";

	/* USER CODE BEGIN sai1 */
	/* USER CODE END sai1 */

	sai1a:audio-controller@40290004{
		status = "okay";

		/* USER CODE BEGIN sai1a */
		/* USER CODE END sai1a */
	};

	sai1b:audio-controller@40290024{
		status = "okay";

		/* USER CODE BEGIN sai1b */
		/* USER CODE END sai1b */
	};
};

&sdmmc1 {
	pinctrl-names = "default", "opendrain", "sleep";
	pinctrl-0 = <&sdmmc1_pins_mx>;
	pinctrl-1 = <&sdmmc1_opendrain_pins_mx>;
	pinctrl-2 = <&sdmmc1_sleep_pins_mx>;
	status = "okay";

	/* USER CODE BEGIN sdmmc1 */
	cd-gpios = <&gpioi 8 (GPIO_ACTIVE_LOW | GPIO_PULL_UP)>;
	disable-wp;
	st,neg-edge;
	bus-width = <4>;
	vmmc-supply = <&scmi_vdd_sdcard>;
	vqmmc-supply = <&scmi_vddio1>;
	sd-uhs-sdr12;
	sd-uhs-sdr25;
	sd-uhs-sdr50;
	sd-uhs-ddr50;
	/* USER CODE END sdmmc1 */
};

&sdmmc2 {
	pinctrl-names = "default", "opendrain", "sleep";
	pinctrl-0 = <&sdmmc2_pins_mx>;
	pinctrl-1 = <&sdmmc2_opendrain_pins_mx>;
	pinctrl-2 = <&sdmmc2_sleep_pins_mx>;
	status = "okay";

	/* USER CODE BEGIN sdmmc2 */
	non-removable;
	no-sd;
	no-sdio;
	st,neg-edge;
	bus-width = <8>;
	vmmc-supply = <&scmi_vdd_emmc>;
	vqmmc-supply = <&scmi_vddio2>;
	mmc-ddr-1_8v;
	/* USER CODE END sdmmc2 */
};

&spi8 {
	pinctrl-names = "default", "sleep";
	pinctrl-0 = <&spi8_pins_z_mx>;
	pinctrl-1 = <&spi8_sleep_pins_z_mx>;
	status = "okay";

	/* USER CODE BEGIN spi8 */
	/* USER CODE END spi8 */
};

&timers1 {
	pinctrl-names = "default", "sleep";
	pinctrl-0 = <&tim1_pins_mx>;
	pinctrl-1 = <&tim1_sleep_pins_mx>;
	status = "okay";

	/* USER CODE BEGIN timers1 */
	/* USER CODE END timers1 */
};

&timers16 {
	pinctrl-names = "default", "sleep";
	pinctrl-0 = <&tim16_pwm_pins_mx>;
	pinctrl-1 = <&tim16_pwm_sleep_pins_mx>;
	status = "okay";

	/* USER CODE BEGIN timers16 */
	/delete-property/dmas;
	/delete-property/dma-names;
	pwm16: pwm {
		#pwm-cells = <2>;
		status = "okay";
	};
	/* USER CODE END timers16 */
};

&timers20 {
	pinctrl-names = "default", "sleep";
	pinctrl-0 = <&tim20_pwm_pins_mx>;
	pinctrl-1 = <&tim20_pwm_sleep_pins_mx>;
	status = "okay";

	/* USER CODE BEGIN timers20 */
	/* USER CODE END timers20 */
};

&uart7 {
	pinctrl-names = "default", "idle", "sleep";
	pinctrl-0 = <&uart7_pins_mx>;
	pinctrl-1 = <&uart7_idle_pins_mx>;
	pinctrl-2 = <&uart7_sleep_pins_mx>;
	status = "okay";

	/* USER CODE BEGIN uart7 */
	/delete-property/ dmas;
	/delete-property/ dma-names;
	/* USER CODE END uart7 */
};

&usart1 {
	pinctrl-names = "default", "idle", "sleep";
	pinctrl-0 = <&usart1_pins_mx>;
	pinctrl-1 = <&usart1_idle_pins_mx>;
	pinctrl-2 = <&usart1_sleep_pins_mx>;
	status = "okay";

	/* USER CODE BEGIN usart1 */
	/delete-property/ dmas;
	/delete-property/ dma-names;
	/* USER CODE END usart1 */
};

&usart2 {
	pinctrl-names = "default", "idle", "sleep";
	pinctrl-0 = <&usart2_pins_mx>;
	pinctrl-1 = <&usart2_idle_pins_mx>;
	pinctrl-2 = <&usart2_sleep_pins_mx>;
	status = "okay";

	/* USER CODE BEGIN usart2 */
	/delete-property/ dmas;
	/delete-property/ dma-names;
	/* USER CODE END usart2 */
};

&usb2_phy1 {
	status = "okay";

	/* USER CODE BEGIN usb2_phy1 */
	vdd33-supply = <&scmi_vdd3v3_usb>;
	/* USER CODE END usb2_phy1 */
};

&usb2_phy2 {
	status = "okay";

	/* USER CODE BEGIN usb2_phy2 */
	vdd33-supply = <&scmi_vdd3v3_usb>;
	/* USER CODE END usb2_phy2 */
};

&usb3dr {
	status = "okay";

	/* USER CODE BEGIN usb3dr */
	dwc3: usb@48300000 {
		maximum-speed = "high-speed";
        	usb-role-switch;

		port {
			usbotg_hs_ep: endpoint {
				remote-endpoint = <&con_usbotg_hs_ep>;
			};
		};
	};
	/* USER CODE END usb3dr */
};

&usbh {
	status = "okay";

	/* USER CODE BEGIN usbh */
	usbh_ehci: usb@482f0000 {
		#address-cells = <1>;
		#size-cells = <0>;
	};

	usbh_ohci: usb@482e0000 {
		status = "disabled";
	};
	/* USER CODE END usbh */
};

&vdec {
	status = "okay";

	/* USER CODE BEGIN vdec */
	/* USER CODE END vdec */
};

&venc {
	status = "okay";

	/* USER CODE BEGIN venc */
	/* USER CODE END venc */
};

/* USER CODE BEGIN addons */
&scmi_regu {
	scmi_vddio1: regulator@0 {
		regulator-min-microvolt = <1800000>;
		regulator-max-microvolt = <3300000>;
	};
	scmi_vddcore: regulator@11  {
		reg = <VOLTD_SCMI_STPMIC2_BUCK2>;
		regulator-name = "vddcore";
	};
	scmi_v1v8: regulator@14  {
		reg = <VOLTD_SCMI_STPMIC2_BUCK5>;
		regulator-name = "v1v8";
	};
	scmi_v3v3: regulator@16 {
		reg = <VOLTD_SCMI_STPMIC2_BUCK7>;
		regulator-name = "v3v3";
	};
	scmi_vdd_emmc: regulator@18 {
		reg = <VOLTD_SCMI_STPMIC2_LDO2>;
		regulator-name = "vdd_emmc";
	};
	scmi_vdd3v3_usb: regulator@20 {
		reg = <VOLTD_SCMI_STPMIC2_LDO4>;
		regulator-name = "vdd3v3_usb";
	};
	scmi_vdd_sdcard: regulator@23 {
		reg = <VOLTD_SCMI_STPMIC2_LDO7>;
		regulator-name = "vdd_sdcard";
	};
};

&switch0 {
	status = "okay";
	pinctrl-0 = <&eth1_rgmii_pins_mx>, <&eth3_rgmii_pins_a>;
	pinctrl-1 = <&eth1_rgmii_sleep_pins_mx>, <&eth3_rgmii_sleep_pins_a>;
	pinctrl-names = "default", "sleep";
	phy-mode = "rgmii";
	st,ethsw-internal-125;
};

&hpdma {
	memory-region = <&hpdma1_lli>;
};

&hpdma2 {
	memory-region = <&hpdma2_lli>;
};

&hpdma3 {
	memory-region = <&hpdma3_lli>;
};

&dsi_in {
	remote-endpoint = <&ltdc_ep0_out>;
};

&dsi_out {
	remote-endpoint = <&dsi_panel_in>;
};

&pcie_ep {
	pinctrl-names = "default", "init";
	pinctrl-0 = <&pcie_pins_mx>;
	pinctrl-1 = <&pcie_init_pins_mx>;
	reset-gpios = <&gpiob 12 GPIO_ACTIVE_LOW>;
	status = "disabled";
};

&m0_rproc {
	memory-region = <&cm0_cube_fw>, <&cm0_cube_data>;
	clocks = <&rcc CK_CPU3>,
		 <&rcc CK_CPU3_AM>,
		 <&rcc CK_LPUART1_C3>,
		 <&rcc CK_KER_LPUART1>,
		 <&rcc CK_LPUART1_AM>,
		 <&rcc CK_GPIOZ_C3>,
		 <&scmi_clk CK_SCMI_GPIOZ>,
		 <&scmi_clk CK_SCMI_GPIOZ_AM>,
		 <&rcc CK_LPTIM4_C3>,
		 <&rcc CK_KER_LPTIM4>,
		 <&rcc CK_LPTIM4_AM>,
		 <&scmi_clk CK_SCMI_IPCC2>,
		 <&scmi_clk CK_SCMI_IPCC2_AM>;
	status = "disabled";
};

&ahbsr {
	mbox_client: mailbox-client@1 {
		compatible = "mbox-cdev";
		reg = <1 0>;
		memory-region =  <&ipc_shmem_2>;
		mboxes = <&ipcc2 0>;
		mbox-names = "rx-tx";
		status = "okay";
	};
};

&mlahb {
	intc_rpmsg: interrupt-controller@1 {
		compatible = "rpmsg,intc";
		reg = <1 0>;
		#interrupt-cells = <1>;
		interrupt-controller;
		status = "okay";
	};

	i2c_rpmsg: i2c@2 {
		compatible = "rpmsg,i2c-controller";
		reg = <2 0>;
		rpmsg,dev-id = "rpmsg_i2c";
		#address-cells = <1>;
		#size-cells = <0>;
		status = "okay";

		typec@35 {
			compatible = "st,stm32mp25-typec";
			reg = <0x35>;
			interrupts-extended = <&intc_rpmsg 0>;
			status = "okay";
			connector {
				compatible = "usb-c-connector";
				label = "USB-C";

				port {
					typec_ep: endpoint {
						//remote-endpoint = <&dwc3_ep>;
					};
				};
			};
		};
	};
};

&sai1 {
	clocks = <&rcc CK_BUS_SAI1>;
	clock-names = "pclk";
	pinctrl-names = "default", "sleep";
	pinctrl-0 = <&sai1a_pins_mx>, <&sai1b_pins_mx>;
	pinctrl-1 = <&sai1a_sleep_pins_mx>, <&sai1b_sleep_pins_mx>;
	status = "okay";

	sai1a: audio-controller@40290004 {
		dma-names = "rx";
		clocks = <&rcc CK_KER_SAI1>, <&sai1b>;
		clock-names = "sai_ck", "MCLK";
		dmas = <&hpdma 73 0x43 0x12>;
		st,sync = <&sai1b 2>;
		status = "okay";

		sai1a_port: port {
			sai1a_endpoint: endpoint {
				remote-endpoint = <&es8388_rx_endpoint>;
				dai-format = "i2s";
				mclk-fs = <256>;
				dai-tdm-slot-num = <2>;
				dai-tdm-slot-width = <32>;
			};
		};
 	};

	sai1b: audio-controller@40290024 {
		#clock-cells = <0>;
		dma-names = "tx";
		clock-names = "sai_ck";
		dmas = <&hpdma 74 0x43 0x21>;
		status = "okay";

		sai1b_port: port {
			sai1b_endpoint: endpoint {
				remote-endpoint = <&es8388_tx_endpoint>;
				dai-format = "i2s";
				mclk-fs = <256>;
				dai-tdm-slot-num = <2>;
				dai-tdm-slot-width = <32>;
 			};
 		};		
	};
};
/* USER CODE END addons */

